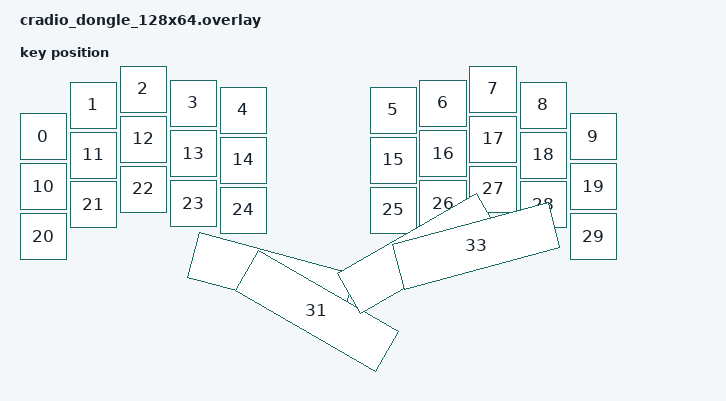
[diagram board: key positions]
/* SPDX-License-Identifier: MIT */
#include <dt-bindings/pinctrl/nrf-pinctrl.h>
/*
 * Sweep dongle central: no local key matrix.
 * SSD1306 is wired to the nice!nano Pro Micro I2C pins.
 */
#include <physical_layouts.dtsi>

/ {
    chosen {
        zmk,kscan = &mock_kscan;
        zephyr,display = &oled;
    };

    /*
     * Match the physical-layout and transform identifiers used by the
     * Sweep halves. Studio requires the same layout metadata on the dongle
     * even though this device has no physical keys.
     */
    cuddlykeyboards_ferris_layout: cuddlykeyboards_ferris_layout {
        compatible = "zmk,physical-layout";
        display-name = "Default";
        transform = <&default_transform>;
        keys =
            <&key_physical_attrs 100 100 0 95 0 0 0>,
                        <&key_physical_attrs 100 100 100 32 0 0 0>,
                        <&key_physical_attrs 100 100 200 0 0 0 0>,
                        <&key_physical_attrs 100 100 300 28 0 0 0>,
                        <&key_physical_attrs 100 100 400 42 0 0 0>,
                        <&key_physical_attrs 100 100 700 42 0 0 0>,
                        <&key_physical_attrs 100 100 800 28 0 0 0>,
                        <&key_physical_attrs 100 100 900 0 0 0 0>,
                        <&key_physical_attrs 100 100 1000 32 0 0 0>,
                        <&key_physical_attrs 100 100 1100 95 0 0 0>,
                        <&key_physical_attrs 100 100 0 195 0 0 0>,
                        <&key_physical_attrs 100 100 100 132 0 0 0>,
                        <&key_physical_attrs 100 100 200 100 0 0 0>,
                        <&key_physical_attrs 100 100 300 129 0 0 0>,
                        <&key_physical_attrs 100 100 400 142 0 0 0>,
                        <&key_physical_attrs 100 100 700 142 0 0 0>,
                        <&key_physical_attrs 100 100 800 129 0 0 0>,
                        <&key_physical_attrs 100 100 900 100 0 0 0>,
                        <&key_physical_attrs 100 100 1000 132 0 0 0>,
                        <&key_physical_attrs 100 100 1100 195 0 0 0>,
                        <&key_physical_attrs 100 100 0 295 0 0 0>,
                        <&key_physical_attrs 100 100 100 231 0 0 0>,
                        <&key_physical_attrs 100 100 200 200 0 0 0>,
                        <&key_physical_attrs 100 100 300 229 0 0 0>,
                        <&key_physical_attrs 100 100 400 242 0 0 0>,
                        <&key_physical_attrs 100 100 700 242 0 0 0>,
                        <&key_physical_attrs 100 100 800 229 0 0 0>,
                        <&key_physical_attrs 100 100 900 200 0 0 0>,
                        <&key_physical_attrs 100 100 1000 231 0 0 0>,
                        <&key_physical_attrs 100 100 1100 295 0 0 0>,
                        <&key_physical_attrs 330 100 330 355 1500 430 455>,
                        <&key_physical_attrs 330 100 430 355 3000 430 455>,
                        <&key_physical_attrs 330 100 670 355 (-3000) 770 455>,
                        <&key_physical_attrs 330 100 770 355 (-1500) 770 455>
        ;
    };

    default_transform: keymap_transform_0 {
        compatible = "zmk,matrix-transform";
        columns = <34>;
        rows = <1>;
        map = <
            0 1 2 3 4 21 20 19 18 17
            5 6 7 8 9 26 25 24 23 22
            10 11 12 13 14 31 30 29 28 27
            15 16 33 32
        >;
    };

    /*
     * The original keymap contains a pin override for &kscan0. Keep a
     * disabled GPIO scanner node so that override remains valid.
     */
    kscan0: kscan0 {
        compatible = "zmk,kscan-gpio-direct";
        status = "disabled";
    };

    mock_kscan: kscan1 {
        compatible = "zmk,kscan-mock";
        columns = <0>;
        rows = <0>;
        events = <0>;
    };
};

/* Dongle-only I2C pin remap. The peripheral shield overlays are untouched. */
&pinctrl {
    dongle_i2c0_default: dongle_i2c0_default {
        group1 {
            /* SDA = P0.06 (D0), SCL = P0.08 (D1) on the dongle MCU only. */
            psels = <NRF_PSEL(TWIM_SDA, 0, 6)>,
                    <NRF_PSEL(TWIM_SCL, 0, 8)>;
        };
    };

    dongle_i2c0_sleep: dongle_i2c0_sleep {
        group1 {
            psels = <NRF_PSEL(TWIM_SDA, 0, 6)>,
                    <NRF_PSEL(TWIM_SCL, 0, 8)>;
            low-power-enable;
        };
    };
};

&pro_micro_i2c {
    status = "okay";
    pinctrl-0 = <&dongle_i2c0_default>;
    pinctrl-1 = <&dongle_i2c0_sleep>;
    pinctrl-names = "default", "sleep";

    oled: ssd1306@3c {
        compatible = "solomon,ssd1306fb";
        reg = <0x3c>;

        width = <128>;
        height = <64>;

        segment-offset = <0>;
        page-offset = <0>;
        display-offset = <0>;
        multiplex-ratio = <63>;

        segment-remap;
        com-invdir;
        prechargep = <0x22>;
    };
};
